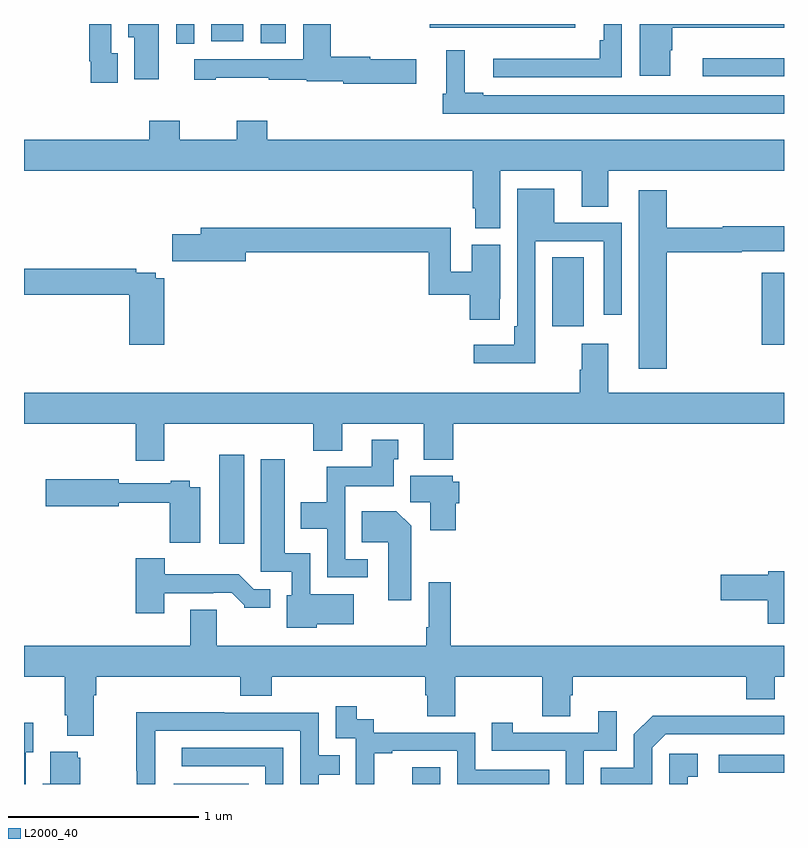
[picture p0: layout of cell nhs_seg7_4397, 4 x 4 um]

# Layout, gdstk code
import gdstk
lib = gdstk.Library(unit=1e-6, precision=1e-09)
def R(c, l, rs):  # rectangles x0, y0, x1, y1
    for r in rs: c.add(gdstk.rectangle(r[:2], r[2:], *l))
def P(c, l, *ps):  # polygons
    for p in ps: c.add(gdstk.Polygon(p, *l))
L2000_40 = (2000, 40)

nhs_seg7_4397 = lib.new_cell('nhs_seg7_4397')
R(nhs_seg7_4397, L2000_40, [(387.788,1052,388.184,1052.002), (389.043,1052,389.19,1052.089), (390.657,1052.058,391,1052.154), (388.028,1053.264,388.159,1053.733), (390.884,1054.311,391,1054.692), (389.78,1054.41,389.947,1054.772), (390.573,1055.724,391,1055.821), (387.801,1055.895,387.897,1056), (388.247,1055.899,388.378,1056), (387.986,1055.91,388.153,1056), (389.135,1055.981,389.902,1056)])
P(nhs_seg7_4397, L2000_40, [(390.147,1056),(390.05,1056),(390.05,1055.914),(390.031,1055.914),(390.031,1055.818),(389.469,1055.818),(389.469,1055.721),(390.147,1055.721)],
  [(387.709,1056),(387.548,1056),(387.548,1055.93),(387.581,1055.93),(387.581,1055.709),(387.709,1055.709)],
  [(389.065,1055.815),(388.823,1055.815),(388.823,1055.828),(388.615,1055.828),(388.615,1056),(388.469,1056),(388.469,1055.814),(387.897,1055.814),(387.897,1055.706),(388.009,1055.706),(388.009,1055.716),(388.288,1055.716),(388.288,1055.706),(388.488,1055.706),(388.488,1055.698),(388.68,1055.698),(388.68,1055.686),(389.065,1055.686)],
  [(387.493,1055.847),(387.459,1055.847),(387.459,1056),(387.343,1056),(387.343,1055.803),(387.351,1055.803),(387.351,1055.691),(387.493,1055.691)],
  [(390.4,1055.862),(390.413,1055.862),(390.413,1055.981),(391,1055.981),(391,1056),(390.242,1056),(390.242,1055.727),(390.4,1055.727)],
  [(391,1055.625),(389.416,1055.625),(389.416,1055.638),(389.32,1055.638),(389.32,1055.863),(389.222,1055.863),(389.222,1055.632),(389.203,1055.632),(389.203,1055.528),(391,1055.528)],
  [(389.506,1055.228),(389.936,1055.228),(389.936,1055.038),(390.076,1055.038),(390.076,1055.228),(391,1055.228),(391,1055.392),(388.28,1055.392),(388.28,1055.491),(388.12,1055.491),(388.12,1055.392),(387.819,1055.392),(387.819,1055.491),(387.659,1055.491),(387.659,1055.392),(387,1055.392),(387,1055.228),(389.363,1055.228),(389.363,1055.029),(389.375,1055.029),(389.375,1054.924),(389.506,1054.924)],
  [(389.691,1054.857),(390.051,1054.857),(390.051,1054.47),(390.147,1054.47),(390.147,1054.953),(389.791,1054.953),(389.791,1055.134),(389.595,1055.134),(389.595,1054.408),(389.579,1054.408),(389.579,1054.312),(389.367,1054.312),(389.367,1054.214),(389.691,1054.214)],
  [(390.383,1054.798),(390.778,1054.798),(390.778,1054.805),(391,1054.805),(391,1054.935),(390.678,1054.935),(390.678,1054.927),(390.383,1054.927),(390.383,1055.125),(390.236,1055.125),(390.236,1054.185),(390.383,1054.185)],
  [(389.505,1054.555),(389.506,1054.555),(389.506,1054.839),(389.357,1054.839),(389.357,1054.695),(389.247,1054.695),(389.247,1054.927),(387.929,1054.927),(387.929,1054.893),(387.78,1054.893),(387.78,1054.751),(388.168,1054.751),(388.168,1054.798),(389.131,1054.798),(389.131,1054.576),(389.345,1054.576),(389.345,1054.443),(389.505,1054.443)],
  [(387.737,1054.663),(387.694,1054.663),(387.694,1054.692),(387.59,1054.692),(387.59,1054.712),(387,1054.712),(387,1054.576),(387.554,1054.576),(387.554,1054.311),(387.737,1054.311)],
  [(387.739,1053.896),(388.523,1053.896),(388.523,1053.755),(388.675,1053.755),(388.675,1053.896),(389.105,1053.896),(389.105,1053.707),(389.258,1053.707),(389.258,1053.896),(391,1053.896),(391,1054.06),(390.076,1054.06),(390.076,1054.318),(389.936,1054.318),(389.936,1054.181),(389.924,1054.181),(389.924,1054.06),(387,1054.06),(387,1053.896),(387.587,1053.896),(387.587,1053.702),(387.739,1053.702)],
  [(388.81,1053.183),(388.692,1053.183),(388.692,1053.566),(388.945,1053.566),(388.945,1053.708),(388.969,1053.708),(388.969,1053.811),(388.829,1053.811),(388.829,1053.67),(388.594,1053.67),(388.594,1053.484),(388.457,1053.484),(388.457,1053.344),(388.596,1053.344),(388.596,1053.087),(388.81,1053.087)],
  [(388.542,1052.84),(388.735,1052.84),(388.735,1052.998),(388.506,1052.998),(388.506,1053.214),(388.372,1053.214),(388.372,1053.709),(388.247,1053.709),(388.247,1053.117),(388.41,1053.117),(388.41,1052.994),(388.382,1052.994),(388.382,1052.822),(388.542,1052.822)],
  [(389.273,1053.477),(389.291,1053.477),(389.291,1053.591),(389.256,1053.591),(389.256,1053.622),(389.033,1053.622),(389.033,1053.484),(389.138,1053.484),(389.138,1053.336),(389.273,1053.336)],
  [(387.928,1053.562),(387.873,1053.562),(387.873,1053.595),(387.773,1053.595),(387.773,1053.582),(387.498,1053.582),(387.498,1053.603),(387.114,1053.603),(387.114,1053.461),(387.498,1053.461),(387.498,1053.481),(387.766,1053.481),(387.766,1053.269),(387.928,1053.269)],
  [(389.038,1053.358),(388.96,1053.436),(388.777,1053.436),(388.777,1053.272),(388.916,1053.272),(388.916,1052.967),(389.038,1052.967)],
  [(387.739,1053.003),(387.995,1053.003),(387.995,1053.006),(388.094,1053.006),(388.158,1052.942),(388.158,1052.927),(388.297,1052.927),(388.297,1053.024),(388.209,1053.024),(388.131,1053.103),(387.742,1053.103),(387.742,1053.187),(387.587,1053.187),(387.587,1052.898),(387.739,1052.898)],
  [(391,1053.119),(390.918,1053.119),(390.918,1053.101),(390.666,1053.101),(390.666,1052.966),(390.914,1052.966),(390.914,1052.843),(391,1052.843)],
  [(387.367,1052.468),(387.38,1052.468),(387.38,1052.564),(388.139,1052.564),(388.139,1052.465),(388.304,1052.465),(388.304,1052.564),(389.111,1052.564),(389.111,1052.466),(389.123,1052.466),(389.123,1052.356),(389.271,1052.356),(389.271,1052.564),(389.728,1052.564),(389.728,1052.356),(389.875,1052.356),(389.875,1052.466),(389.888,1052.466),(389.888,1052.564),(390.8,1052.564),(390.8,1052.447),(390.952,1052.447),(390.952,1052.564),(391,1052.564),(391,1052.728),(389.246,1052.728),(389.246,1053.061),(389.13,1053.061),(389.13,1052.824),(389.118,1052.824),(389.118,1052.728),(388.015,1052.728),(388.015,1052.918),(387.875,1052.918),(387.875,1052.728),(387,1052.728),(387,1052.564),(387.215,1052.564),(387.215,1052.362),(387.227,1052.362),(387.227,1052.255),(387.367,1052.255)],
  [(388.844,1052.163),(388.939,1052.163),(388.939,1052.175),(389.28,1052.175),(389.28,1052),(389.765,1052),(389.765,1052.076),(389.376,1052.076),(389.376,1052.271),(388.842,1052.271),(388.842,1052.34),(388.75,1052.34),(388.75,1052.41),(388.641,1052.41),(388.641,1052.241),(388.746,1052.241),(388.746,1052.012),(388.745,1052.012),(388.745,1052),(388.844,1052)],
  [(389.946,1052.175),(390.12,1052.175),(390.12,1052.383),(390.023,1052.383),(390.023,1052.271),(389.572,1052.271),(389.572,1052.323),(389.461,1052.323),(389.461,1052.175),(389.85,1052.175),(389.85,1052),(389.946,1052)],
  [(387.69,1052.026),(387.691,1052.026),(387.691,1052.28),(388.455,1052.28),(388.455,1052),(388.551,1052),(388.551,1052.05),(388.661,1052.05),(388.661,1052.151),(388.551,1052.151),(388.551,1052.376),(388.055,1052.376),(388.055,1052.378),(387.592,1052.378),(387.592,1052.071),(387.594,1052.071),(387.594,1052),(387.69,1052)],
  [(390.306,1052.19),(390.378,1052.262),(391,1052.262),(391,1052.358),(390.716,1052.358),(390.716,1052.36),(390.308,1052.36),(390.21,1052.262),(390.21,1052.085),(390.036,1052.085),(390.036,1052),(390.306,1052)],
  [(387.009,1052.167),(387.049,1052.167),(387.049,1052.323),(387,1052.323),(387,1052),(387.009,1052)],
  [(388.365,1052.19),(387.831,1052.19),(387.831,1052.094),(388.269,1052.094),(388.269,1052),(388.365,1052)],
  [(387.295,1052.139),(387.284,1052.139),(387.284,1052.17),(387.137,1052.17),(387.137,1052.002),(387.098,1052.002),(387.098,1052),(387.295,1052)],
  [(390.494,1052.037),(390.547,1052.037),(390.547,1052.158),(390.396,1052.158),(390.396,1052),(390.494,1052)])

lib.write_gds('nhs_seg7_4397.gds')
